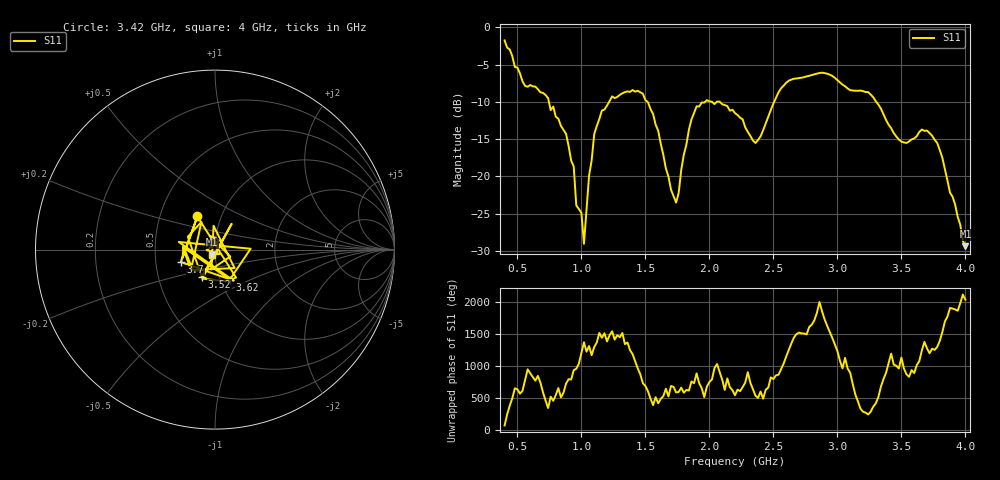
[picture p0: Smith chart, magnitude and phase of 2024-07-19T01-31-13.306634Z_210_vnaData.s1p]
!Created with skrf (http://scikit-rf.org).
# Hz S RI R 50.0
!freq ReS11 ImS11
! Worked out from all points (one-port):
!   181 points, 400 MHz to 4 GHz, reference 50 ohm
!   lowest |S11| = -29.4 dB at 4 GHz (marker M1), VSWR 1.07, Z = 48.2 - j2.78 ohm
!   |S11| at or under -10 dB: 746.3 MHz to 1.216 GHz (470.2 MHz wide, 47.9 % of centre); 1.517 GHz to 1.966 GHz (448.5 MHz wide, 25.8 % of centre); 3.304 GHz to end of sweep (the widest 3 of 5)
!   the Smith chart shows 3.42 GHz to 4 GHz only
!   S11 on the Smith chart (normalised r, x): 3.42 GHz: 0.77, +0.30; 3.52 GHz: 0.83, -0.26; 3.62 GHz: 1.11, -0.38; 3.7 GHz: 0.67, -0.10; 4 GHz: 0.96, -0.06
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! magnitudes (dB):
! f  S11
! 400 MHz  -1.7
! 560 MHz  -7.8
! 720 MHz  -9.1
! 860 MHz  -13.8
! 940 MHz  -18.7
! 960 MHz  -23.9
! 1 GHz  -24.9
! 1.02 GHz  -29.1
! 1.1 GHz  -14.3
! 1.3 GHz  -9.1
! 1.48 GHz  -8.9
! 1.6 GHz  -13.9
! 1.7 GHz  -21.8
! 1.76 GHz  -22.2
! 1.84 GHz  -13.7
! 1.9 GHz  -10.6
! 2.2 GHz  -11.5
! 2.36 GHz  -15.5
! 2.66 GHz  -6.9
! 3.1 GHz  -8.4
! 3.24 GHz  -8.7
! 3.42 GHz  -13.5
! 3.52 GHz  -15.4
! 3.56 GHz  -15.3
! 3.62 GHz  -14.6
! 3.7 GHz  -13.8
! 3.82 GHz  -17.5
! 4 GHz  -29.4
